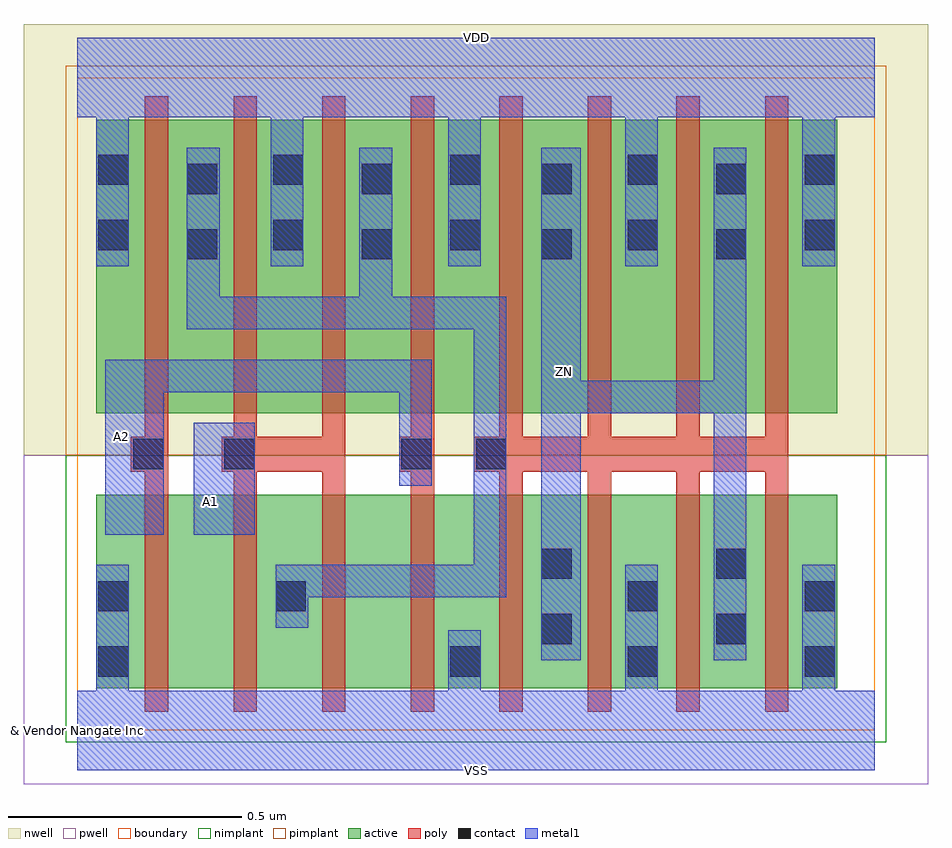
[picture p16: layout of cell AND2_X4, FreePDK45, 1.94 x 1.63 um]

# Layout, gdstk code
import gdstk
lib = gdstk.Library(unit=1e-6, precision=1e-10)
def R(c, l, rs):  # rectangles x0, y0, x1, y1
    for r in rs: c.add(gdstk.rectangle(r[:2], r[2:], *l))
def A(c, l, x, y, w, h, nx, ny, dx, dy):  # array of equal rectangles
    R(c, l, [(x+i*dx, y+j*dy, x+i*dx+w, y+j*dy+h) for i in range(nx) for j in range(ny)])
def P(c, l, *ps):  # polygons
    for p in ps: c.add(gdstk.Polygon(p, *l))
active = (1, 0)
pwell = (2, 0)
nwell = (3, 0)
nimplant = (4, 0)
pimplant = (5, 0)
poly = (9, 0)
contact = (10, 0)
metal1 = (11, 0)
boundary = (235, 0)

and2_x4 = lib.new_cell('AND2_X4')
R(and2_x4, active, [(0.04,0.09,1.63,0.505), (0.04,0.68,1.63,1.31)])
R(and2_x4, pwell, [(-0.115,-0.115,1.825,0.59)])
R(and2_x4, nwell, [(-0.115,0.59,1.825,1.515)])
R(and2_x4, nimplant, [(-0.025,-0.025,1.735,0.59)])
R(and2_x4, pimplant, [(-0.025,0.59,1.735,1.425)])
P(and2_x4, poly, [(0.145,0.04),(0.145,0.555),(0.115,0.555),(0.115,0.63),(0.145,0.63),(0.145,1.36),(0.195,1.36),(0.195,0.04)],
  [(0.335,0.04),(0.335,0.555),(0.31,0.555),(0.31,0.63),(0.335,0.63),(0.335,1.36),(0.385,1.36),(0.385,0.63),(0.525,0.63),(0.525,1.36),(0.575,1.36),(0.575,0.04),(0.525,0.04),(0.525,0.555),(0.385,0.555),(0.385,0.04)],
  [(0.715,0.04),(0.715,0.555),(0.69,0.555),(0.69,0.63),(0.715,0.63),(0.715,1.36),(0.765,1.36),(0.765,0.04)],
  [(0.905,0.04),(0.905,0.555),(0.85,0.555),(0.85,0.63),(0.905,0.63),(0.905,1.36),(0.955,1.36),(0.955,0.63),(1.095,0.63),(1.095,1.36),(1.145,1.36),(1.145,0.63),(1.285,0.63),(1.285,1.36),(1.335,1.36),(1.335,0.63),(1.475,0.63),(1.475,1.36),(1.525,1.36),(1.525,0.04),(1.475,0.04),(1.475,0.555),(1.335,0.555),(1.335,0.04),(1.285,0.04),(1.285,0.555),(1.145,0.555),(1.145,0.04),(1.095,0.04),(1.095,0.555),(0.955,0.555),(0.955,0.04)])
A(and2_x4, contact, 0.8, 0.115, 0.065, 0.065, 3, 1, 0.38, 0)
A(and2_x4, contact, 0.42, 1.03, 0.065, 0.065, 4, 2, 0.38, 0.14)
R(and2_x4, contact, [(0.045,0.115,0.11,0.18), (0.995,0.185,1.06,0.25), (1.37,0.185,1.435,0.25), (0.045,0.255,0.11,0.32), (0.425,0.255,0.49,0.32), (1.18,0.255,1.245,0.32), (1.56,0.255,1.625,0.32), (0.995,0.325,1.06,0.39), (1.37,0.325,1.435,0.39), (0.12,0.56,0.185,0.625), (0.315,0.56,0.38,0.625), (0.695,0.56,0.76,0.625), (0.855,0.56,0.92,0.625), (0.235,1.01,0.3,1.075), (0.61,1.01,0.675,1.075), (0.995,1.01,1.06,1.075), (1.37,1.01,1.435,1.075), (0.045,1.03,0.11,1.095), (0.235,1.15,0.3,1.215), (0.61,1.15,0.675,1.215), (0.995,1.15,1.06,1.215), (1.37,1.15,1.435,1.215), (0.045,1.17,0.11,1.235)])
R(and2_x4, metal1, [(0.25,0.42,0.38,0.66)])
P(and2_x4, metal1, [(0.06,0.42),(0.06,0.795),(0.76,0.795),(0.76,0.525),(0.69,0.525),(0.69,0.725),(0.185,0.725),(0.185,0.42)],
  [(0.425,0.22),(0.425,0.355),(0.85,0.355),(0.85,0.86),(0.235,0.86),(0.235,1.25),(0.305,1.25),(0.305,0.93),(0.605,0.93),(0.605,1.25),(0.675,1.25),(0.675,0.93),(0.92,0.93),(0.92,0.285),(0.495,0.285),(0.495,0.22)],
  [(0.995,0.15),(0.995,1.25),(1.08,1.25),(1.08,0.75),(1.365,0.75),(1.365,1.25),(1.435,1.25),(1.435,0.15),(1.365,0.15),(1.365,0.68),(1.08,0.68),(1.08,0.15)],
  [(0,-0.085),(0,0.085),(0.04,0.085),(0.04,0.355),(0.11,0.355),(0.11,0.085),(0.795,0.085),(0.795,0.215),(0.865,0.215),(0.865,0.085),(1.175,0.085),(1.175,0.355),(1.245,0.355),(1.245,0.085),(1.555,0.085),(1.555,0.355),(1.625,0.355),(1.625,0.085),(1.71,0.085),(1.71,-0.085)],
  [(0.04,0.995),(0.04,1.315),(0,1.315),(0,1.485),(1.71,1.485),(1.71,1.315),(1.625,1.315),(1.625,0.995),(1.555,0.995),(1.555,1.315),(1.245,1.315),(1.245,0.995),(1.175,0.995),(1.175,1.315),(0.865,1.315),(0.865,0.995),(0.795,0.995),(0.795,1.315),(0.485,1.315),(0.485,0.995),(0.415,0.995),(0.415,1.315),(0.11,1.315),(0.11,0.995)])
R(and2_x4, boundary, [(0,0,1.71,1.4)])
and2_x4.add(gdstk.Label('A1', (0.285,0.49), layer=11, texttype=0))
and2_x4.add(gdstk.Label('A2', (0.095,0.63), layer=11, texttype=0))
and2_x4.add(gdstk.Label('VDD', (0.855,1.485), layer=11, texttype=0))
and2_x4.add(gdstk.Label('VSS', (0.855,-0.085), layer=11, texttype=0))
and2_x4.add(gdstk.Label('ZN', (1.045,0.77), layer=11, texttype=0))
and2_x4.add(gdstk.Label('& Vendor Nangate Inc', (0,0), layer=63, texttype=63))
and2_x4.add(gdstk.Label('& Product Open Cell Library', (0,0), layer=63, texttype=63))
and2_x4.add(gdstk.Label('& Version 2010_12', (0,0), layer=63, texttype=63))
and2_x4.add(gdstk.Label('& Instance AND2_X4', (0,0), layer=63, texttype=63))

lib.write_gds('AND2_X4.gds')
